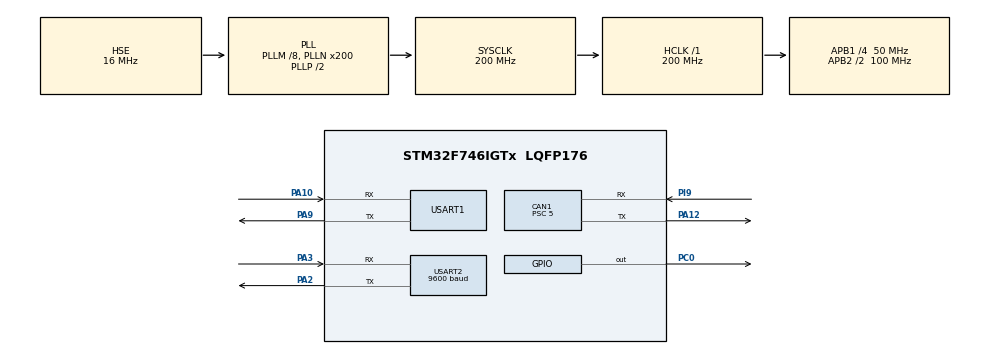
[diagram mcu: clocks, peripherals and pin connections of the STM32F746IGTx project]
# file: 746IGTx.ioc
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CAN1.BS1=CAN_BS1_14TQ
CAN1.BS2=CAN_BS2_5TQ
CAN1.CalculateBaudRate=500000
CAN1.CalculateTimeBit=2000.00
CAN1.CalculateTimeQuantum=100.0
CAN1.Prescaler=5
Mcu.Family=STM32F7
Mcu.Name=STM32F746IGTx
Mcu.Package=LQFP176
NVIC.CAN1_RX0_IRQn=true\:0\:0\:false\:false\:true\:true\:true
NVIC.PriorityGroup=NVIC_PRIORITYGROUP_4
NVIC.TIM2_IRQn=true\:0\:0\:false\:false\:true\:true\:true
NVIC.USART1_IRQn=true\:0\:0\:false\:true\:true\:2\:true\:true
NVIC.USART2_IRQn=true\:0\:0\:false\:true\:true\:1\:true\:true
PA10.Mode=Asynchronous
PA10.Signal=USART1_RX
PA12.Mode=CAN_Activate
PA12.Signal=CAN1_TX
PA2.Mode=Asynchronous
PA2.Signal=USART2_TX
PA3.Mode=Asynchronous
PA3.Signal=USART2_RX
PA9.Mode=Asynchronous
PA9.Signal=USART1_TX
PC0.Signal=GPIO_Output
PH0/OSC_IN.Mode=HSE-External-Oscillator
PH0/OSC_IN.Signal=RCC_OSC_IN
PH1/OSC_OUT.Mode=HSE-External-Oscillator
PH1/OSC_OUT.Signal=RCC_OSC_OUT
PI9.Mode=CAN_Activate
PI9.Signal=CAN1_RX
ProjectManager.HeapSize=0x200
ProjectManager.StackSize=0x400
ProjectManager.TargetToolchain=STM32CubeIDE
RCC.AHBFreq_Value=200000000
RCC.APB1CLKDivider=RCC_HCLK_DIV4
RCC.APB1Freq_Value=50000000
RCC.APB1TimFreq_Value=100000000
RCC.APB2CLKDivider=RCC_HCLK_DIV2
RCC.APB2Freq_Value=100000000
RCC.APB2TimFreq_Value=200000000
RCC.CortexFreq_Value=200000000
RCC.HCLKFreq_Value=200000000
RCC.HSE_VALUE=16000000
RCC.HSI_VALUE=16000000
RCC.LSE_VALUE=32768
RCC.PLLM=8
RCC.PLLN=200
RCC.PLLSourceVirtual=RCC_PLLSOURCE_HSE
RCC.SYSCLKFreq_VALUE=200000000
RCC.SYSCLKSource=RCC_SYSCLKSOURCE_PLLCLK
RCC.USBFreq_Value=200000000
RCC.VCOOutputFreq_Value=400000000
TIM2.Period=10000-1
TIM2.Prescaler=10-1
USART1.VirtualMode-Asynchronous=VM_ASYNC
USART2.BaudRate=9600
USART2.VirtualMode-Asynchronous=VM_ASYNC
VP_TIM2_VS_ClockSourceINT.Mode=Internal
board=custom

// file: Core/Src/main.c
/* USER CODE BEGIN Header */
/**
  ******************************************************************************
  * @file           : main.c
  * @brief          : Main program body
  ******************************************************************************
  * @attention
  *
  * <h2><center>&copy; Copyright (c) 2021 STMicroelectronics.
  * All rights reserved.</center></h2>
  *
  * This software component is licensed by ST under BSD 3-Clause license,
  * the "License"; You may not use this file except in compliance with the
  * License. You may obtain a copy of the License at:
  *                        opensource.org/licenses/BSD-3-Clause
  *
  ******************************************************************************
  */
/* USER CODE END Header */
#include "main.h"
#include "can.h"
#include "tim.h"
#include "usart.h"
#include "gpio.h"

/* USER CODE BEGIN PV */
CAN_FilterTypeDef		canFilter1;
CAN_RxHeaderTypeDef		canRxHeader;
CAN_TxHeaderTypeDef		canTxHeader;
uint8_t					can1Rx0Data[8];
uint32_t				TxMailBox;
uint8_t					can1Tx0Data[8];
volatile uint8_t		can1_rx0_flag=0;

/* USER CODE END PV */

void SystemClock_Config(void);
static void MX_NVIC_Init(void);
/* USER CODE BEGIN PFP */
void 	HAL_CAN_RxFifo0MsgPendingCallback(CAN_HandleTypeDef *hcan);

/* USER CODE END PFP */

/* USER CODE BEGIN 0 */
void 	HAL_CAN_RxFifo0MsgPendingCallback(CAN_HandleTypeDef *hcan)
{
	if(hcan->Instance == CAN1)
	{
		HAL_CAN_GetRxMessage(&hcan1, CAN_RX_FIFO0, &canRxHeader, &can1Rx0Data[0]);
		can1_rx0_flag = 1;
	}
}

void HAL_TIM_PeriodElapsedCallback(TIM_HandleTypeDef *htim)
{
//	static uint8_t	tval_cnt_tim2_debug = 0;

	if(htim->Instance == TIM2)
	{
		GPIOC->ODR ^= GPIO_PIN_0;	//Blinked status LED
	}
}

/* USER CODE END 0 */

int main(void)
{

  /* MCU Configuration--------------------------------------------------------*/

  /* Reset of all peripherals, Initializes the Flash interface and the Systick. */
  HAL_Init();

  /* Configure the system clock */
  SystemClock_Config();

  /* Initialize all configured peripherals */
  MX_GPIO_Init();
  MX_CAN1_Init();
  MX_USART1_UART_Init();
  MX_USART2_UART_Init();
  MX_TIM2_Init();

  /* Initialize interrupts */
  MX_NVIC_Init();
  /* USER CODE BEGIN 2 */
  canFilter1.FilterMaskIdHigh  		= 0x000 << 5;      // ?��?�� ?��바이?��?�� id?��?�� 모두 ?��?��받겠?��.
  canFilter1.FilterIdHigh			= 0x000 << 5;

  canFilter1.FilterMaskIdLow  		= 0x000 << 5;      // ?��?�� ?��바이?��?�� id?��?�� 모두 ?��?��받겠?��.
  canFilter1.FilterIdLow			= 0x000 << 5;

  canFilter1.FilterMode 			= CAN_FILTERMODE_IDMASK;
  canFilter1.FilterScale			= CAN_FILTERSCALE_16BIT;

  canFilter1.FilterFIFOAssignment	= CAN_FILTER_FIFO0;
  canFilter1.FilterBank				= 0;               // 0�??????????? ?��?��뱅크 ?��?��
  canFilter1.FilterActivation 		= ENABLE;

  HAL_CAN_ConfigFilter(&hcan1, &canFilter1);
  HAL_CAN_ActivateNotification(&hcan1, CAN_IT_RX_FIFO0_MSG_PENDING);  // interrupt?��?��, fifo0?�� message pending

  printf("Start CAN Comm2\r\n");          // usart1?�� 출력
  HAL_CAN_Start(&hcan1);
  printf("Start CAN1\r\n");

  // HAL_TIM_Base_Start_IT(&htim2);					//Enable(start) Timer2 Interrupt

  /* USER CODE END 2 */

  /* Infinite loop */
  while (1)
  {

    /* USER CODE BEGIN 3 */

/*
	  if(can1_rx0_flag)
	  {
		  can1_rx0_flag = 0;
		  printf("CAN Rx : 0x%06X : %2X %2X %2X %2X %2X %2X %2X %2X\r\n",canRxHeader.StdId
				  , can1Rx0Data[0], can1Rx0Data[1], can1Rx0Data[2], can1Rx0Data[3],
				  can1Rx0Data[4], can1Rx0Data[5], can1Rx0Data[6], can1Rx0Data[7]);
	  }
*/
		GPIOC->ODR ^= GPIO_PIN_0;	//Blinked status LED
		HAL_Delay(20);
  }
  /* USER CODE END 3 */
}

void SystemClock_Config(void)
{
  RCC_OscInitTypeDef RCC_OscInitStruct = {0};
  RCC_ClkInitTypeDef RCC_ClkInitStruct = {0};
  RCC_PeriphCLKInitTypeDef PeriphClkInitStruct = {0};

  /** Configure the main internal regulator output voltage
  */
  __HAL_RCC_PWR_CLK_ENABLE();
  __HAL_PWR_VOLTAGESCALING_CONFIG(PWR_REGULATOR_VOLTAGE_SCALE1);
  /** Initializes the RCC Oscillators according to the specified parameters
  * in the RCC_OscInitTypeDef structure.
  */
  RCC_OscInitStruct.OscillatorType = RCC_OSCILLATORTYPE_HSE;
  RCC_OscInitStruct.HSEState = RCC_HSE_ON;
  RCC_OscInitStruct.PLL.PLLState = RCC_PLL_ON;
  RCC_OscInitStruct.PLL.PLLSource = RCC_PLLSOURCE_HSE;
  RCC_OscInitStruct.PLL.PLLM = 8;
  RCC_OscInitStruct.PLL.PLLN = 200;
  RCC_OscInitStruct.PLL.PLLP = RCC_PLLP_DIV2;
  RCC_OscInitStruct.PLL.PLLQ = 2;
  if (HAL_RCC_OscConfig(&RCC_OscInitStruct) != HAL_OK)
  {
    Error_Handler();
  }
  /** Activate the Over-Drive mode
  */
  if (HAL_PWREx_EnableOverDrive() != HAL_OK)
  {
    Error_Handler();
  }
  /** Initializes the CPU, AHB and APB buses clocks
  */
  RCC_ClkInitStruct.ClockType = RCC_CLOCKTYPE_HCLK|RCC_CLOCKTYPE_SYSCLK
                              |RCC_CLOCKTYPE_PCLK1|RCC_CLOCKTYPE_PCLK2;
  RCC_ClkInitStruct.SYSCLKSource = RCC_SYSCLKSOURCE_PLLCLK;
  RCC_ClkInitStruct.AHBCLKDivider = RCC_SYSCLK_DIV1;
  RCC_ClkInitStruct.APB1CLKDivider = RCC_HCLK_DIV4;
  RCC_ClkInitStruct.APB2CLKDivider = RCC_HCLK_DIV2;

  if (HAL_RCC_ClockConfig(&RCC_ClkInitStruct, FLASH_LATENCY_6) != HAL_OK)
  {
    Error_Handler();
  }
  PeriphClkInitStruct.PeriphClockSelection = RCC_PERIPHCLK_USART1|RCC_PERIPHCLK_USART2;
  PeriphClkInitStruct.Usart1ClockSelection = RCC_USART1CLKSOURCE_PCLK2;
  PeriphClkInitStruct.Usart2ClockSelection = RCC_USART2CLKSOURCE_PCLK1;
  if (HAL_RCCEx_PeriphCLKConfig(&PeriphClkInitStruct) != HAL_OK)
  {
    Error_Handler();
  }
}

/**
  * @brief NVIC Configuration.
  * @retval None
  */
static void MX_NVIC_Init(void)
{
  /* USART2_IRQn interrupt configuration */
  HAL_NVIC_SetPriority(USART2_IRQn, 0, 0);
  HAL_NVIC_EnableIRQ(USART2_IRQn);
  /* USART1_IRQn interrupt configuration */
  HAL_NVIC_SetPriority(USART1_IRQn, 0, 0);
  HAL_NVIC_EnableIRQ(USART1_IRQn);
}

/* USER CODE BEGIN 4 */
//**********************************************************************
// printf
//**********************************************************************

#ifdef __GNUC__
int _write(int file,uint8_t*ptr,int len)
{
	HAL_UART_Transmit(&huart1,ptr,len,1000);
return len;
}
#elif (__ICCARM__||__CC_ARM)
int fputc(int c,FILE*stream)
{
	HAL_UART_Transmit(&huart1,(uint8_t*)&c,1,1000);
	return c;
}
#endif
/* USER CODE END 4 */

void Error_Handler(void)
{
  __disable_irq();
  while (1)
  {
  }
}

/************************ (C) COPYRIGHT STMicroelectronics *****END OF FILE****/
